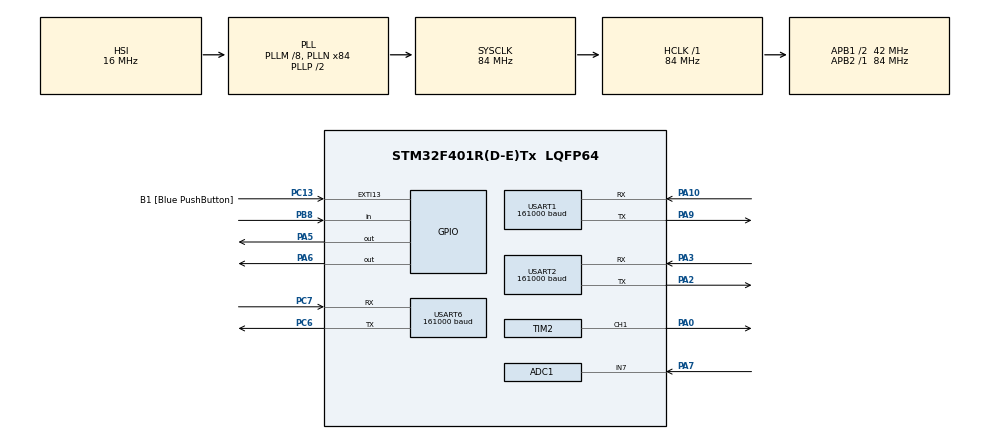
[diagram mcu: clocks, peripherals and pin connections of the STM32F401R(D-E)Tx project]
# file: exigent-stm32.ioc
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ADC1.Channel-0\#ChannelRegularConversion=ADC_CHANNEL_7
ADC1.NbrOfConversionFlag=1
ADC1.Rank-0\#ChannelRegularConversion=1
ADC1.SamplingTime-0\#ChannelRegularConversion=ADC_SAMPLETIME_3CYCLES
ADC1.master=1
Mcu.Family=STM32F4
Mcu.Name=STM32F401R(D-E)Tx
Mcu.Package=LQFP64
NVIC.ADC_IRQn=true\:0\:0\:false\:false\:true\:true\:true
NVIC.PriorityGroup=NVIC_PRIORITYGROUP_0
NVIC.TIM3_IRQn=true\:0\:0\:false\:false\:true\:true\:true
NVIC.USART1_IRQn=true\:0\:0\:false\:false\:true\:true\:true
NVIC.USART2_IRQn=true\:0\:0\:false\:false\:true\:true\:true
PA0-WKUP.Signal=S_TIM2_CH1_ETR
PA10.Mode=Asynchronous
PA10.Signal=USART1_RX
PA13.GPIO_Label=TMS
PA13.Mode=Serial_Wire
PA13.Signal=SYS_JTMS-SWDIO
PA14.GPIO_Label=TCK
PA14.Mode=Serial_Wire
PA14.Signal=SYS_JTCK-SWCLK
PA2.GPIO_Mode=GPIO_MODE_AF_PP
PA2.GPIO_ModeDefaultPP=GPIO_MODE_AF_PP
PA2.GPIO_PuPd=GPIO_NOPULL
PA2.GPIO_Speed=GPIO_SPEED_FREQ_VERY_HIGH
PA2.Mode=Asynchronous
PA2.Signal=USART2_TX
PA3.GPIO_Mode=GPIO_MODE_AF_PP
PA3.GPIO_ModeDefaultPP=GPIO_MODE_AF_PP
PA3.GPIO_PuPd=GPIO_NOPULL
PA3.GPIO_Speed=GPIO_SPEED_FREQ_VERY_HIGH
PA3.Mode=Asynchronous
PA3.Signal=USART2_RX
PA5.Signal=GPIO_Output
PA6.Signal=GPIO_Output
PA7.Signal=ADCx_IN7
PA9.Mode=Asynchronous
PA9.Signal=USART1_TX
PB3.GPIO_Label=SWO
PB3.Signal=SYS_JTDO-SWO
PB8.Signal=GPIO_Input
PC13-ANTI_TAMP.GPIO_Label=B1 [Blue PushButton]
PC13-ANTI_TAMP.GPIO_ModeDefaultEXTI=GPIO_MODE_IT_FALLING
PC13-ANTI_TAMP.GPIO_PuPd=GPIO_NOPULL
PC13-ANTI_TAMP.Signal=GPXTI13
PC14-OSC32_IN.Mode=LSE-External-Oscillator
PC14-OSC32_IN.Signal=RCC_OSC32_IN
PC15-OSC32_OUT.Mode=LSE-External-Oscillator
PC15-OSC32_OUT.Signal=RCC_OSC32_OUT
PC6.Mode=Asynchronous
PC6.Signal=USART6_TX
PC7.Mode=Asynchronous
PC7.Signal=USART6_RX
PH0\ -\ OSC_IN.Mode=HSE-External-Clock-Source
PH0\ -\ OSC_IN.Signal=RCC_OSC_IN
PH1\ -\ OSC_OUT.Mode=HSE-External-Clock-Source
PH1\ -\ OSC_OUT.Signal=RCC_OSC_OUT
ProjectManager.HeapSize=0x200
ProjectManager.StackSize=0x400
ProjectManager.TargetToolchain=STM32CubeIDE
RCC.48MHZClocksFreq_Value=24000000
RCC.AHBFreq_Value=84000000
RCC.APB1CLKDivider=RCC_HCLK_DIV2
RCC.APB1Freq_Value=42000000
RCC.APB1TimFreq_Value=84000000
RCC.APB2Freq_Value=84000000
RCC.APB2TimFreq_Value=84000000
RCC.CortexFreq_Value=84000000
RCC.HCLKFreq_Value=84000000
RCC.HSE_VALUE=8000000
RCC.HSI_VALUE=16000000
RCC.PLLM=8
RCC.PLLN=84
RCC.PLLQ=7
RCC.SYSCLKFreq_VALUE=84000000
RCC.SYSCLKSource=RCC_SYSCLKSOURCE_PLLCLK
RCC.VCOOutputFreq_Value=168000000
SH.ADCx_IN7.0=ADC1_IN7,IN7
SH.S_TIM2_CH1_ETR.0=TIM2_CH1,PWM Generation1 CH1
TIM2.Channel-PWM\ Generation1\ CH1=TIM_CHANNEL_1
TIM2.Period=255
TIM3.Period=63
TIM3.Prescaler=83
USART1.BaudRate=161000
USART1.VirtualMode=VM_ASYNC
USART2.BaudRate=161000
USART2.VirtualMode=VM_ASYNC
USART6.BaudRate=161000
USART6.VirtualMode=VM_ASYNC
VP_TIM2_VS_ClockSourceINT.Mode=Internal
VP_TIM3_VS_ClockSourceINT.Mode=Internal
board=NUCLEO-F401RE

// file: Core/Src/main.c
/* USER CODE BEGIN Header */
/**
  ******************************************************************************
  * @file           : main.c
  * @brief          : Main program body
  ******************************************************************************
  * @attention
  *
  * <h2><center>&copy; Copyright (c) 2021 STMicroelectronics.
  * All rights reserved.</center></h2>
  *
  * This software component is licensed by ST under BSD 3-Clause license,
  * the "License"; You may not use this file except in compliance with the
  * License. You may obtain a copy of the License at:
  *                        opensource.org/licenses/BSD-3-Clause
  *
  ******************************************************************************
  */
/* USER CODE END Header */
#include "main.h"

/* USER CODE BEGIN Includes */
#include <stdio.h>
#include <string.h>
/* USER CODE END Includes */

/* USER CODE BEGIN PD */
#define BUFFER_SIZE 2048
#define BUSY_THRESHOLD 1800
/* USER CODE END PD */

ADC_HandleTypeDef hadc1;

TIM_HandleTypeDef htim2;
TIM_HandleTypeDef htim3;

UART_HandleTypeDef huart1;
UART_HandleTypeDef huart2;
UART_HandleTypeDef huart6;

void SystemClock_Config(void);
static void MX_GPIO_Init(void);
static void MX_USART2_UART_Init(void);
static void MX_TIM2_Init(void);
static void MX_TIM3_Init(void);
static void MX_USART1_UART_Init(void);
static void MX_USART6_UART_Init(void);
static void MX_ADC1_Init(void);

/* USER CODE BEGIN 0 */

uint8_t R='R';
uint8_t c;
uint8_t buffer[BUFFER_SIZE];
uint8_t playEnabledBuffer,playing;
int32_t head=0,tail=0;

UART_HandleTypeDef * audioSource;
int prev=-1;
uint16_t AD_RES;

uint8_t buf[100];

int response=0;

inline int abs(int x) { return x<0 ? -x : x; }

void HAL_ADC_ConvCpltCallback(ADC_HandleTypeDef* hadc)
{
    AD_RES = HAL_ADC_GetValue(&hadc1);
    int diff = 0;
    if(prev != -1) diff = AD_RES - prev;
    prev = AD_RES;
    if(abs(diff) > 500) ++response;
}

void HAL_UART_RxCpltCallback(UART_HandleTypeDef *huart){
	if( playing &&  ( ((tail+1)&0x7ff) != head) ) {
		buffer[tail++] = c;
		tail &= 0x7ff;
	}
	HAL_UART_Receive_IT(audioSource,&c,1);
}

void HAL_TIM_PeriodElapsedCallback(TIM_HandleTypeDef *htim) {
	HAL_ADC_Start_IT(&hadc1);
	if( !playing || head == tail ) return;
	if(htim->Instance == htim3.Instance){
		htim2.Instance->CCR1 = buffer[head++];
		head &= 0x7ff;
	}
}
/* USER CODE END 0 */

int main(void)
{

  /* MCU Configuration--------------------------------------------------------*/

  /* Reset of all peripherals, Initializes the Flash interface and the Systick. */
  HAL_Init();

  /* Configure the system clock */
  SystemClock_Config();

  /* Initialize all configured peripherals */
  MX_GPIO_Init();
  MX_USART2_UART_Init();
  MX_TIM2_Init();
  MX_TIM3_Init();
  MX_USART1_UART_Init();
  MX_USART6_UART_Init();
  MX_ADC1_Init();
  /* USER CODE BEGIN 2 */
  audioSource = &huart1;
  playing = 0;
  HAL_GPIO_WritePin(GPIOA,GPIO_PIN_5,GPIO_PIN_SET);
  HAL_TIM_PWM_Start(&htim2,TIM_CHANNEL_1);
  HAL_TIM_Base_Start_IT(&htim3);
  //HAL_UART_Receive_IT(audioSource,&c,1);
  /* USER CODE END 2 */

  /* Infinite loop */
  while (1)
  {

    /* USER CODE BEGIN 3 */

	  playEnabledBuffer <<= 1;
	  playEnabledBuffer |= HAL_GPIO_ReadPin(GPIOB,GPIO_PIN_8) == GPIO_PIN_SET ? 1 : 0;
	  if(playing == 0 && playEnabledBuffer == 0) {
		  HAL_UART_Receive_IT(audioSource,&c,1);
		  response = 0;
		  playing = 1;
	  } else if(playing == 1 && playEnabledBuffer == 0xff){
		  HAL_UART_AbortReceive_IT(audioSource);
		  if(response > 5) HAL_UART_Transmit(&huart6,&R,1,1000);
		  head = tail = 0;
		  htim2.Instance->CCR1 = 0;
		  playing = 0;
	  }
  }
  /* USER CODE END 3 */
}

void SystemClock_Config(void)
{
  RCC_OscInitTypeDef RCC_OscInitStruct = {0};
  RCC_ClkInitTypeDef RCC_ClkInitStruct = {0};

  /** Configure the main internal regulator output voltage
  */
  __HAL_RCC_PWR_CLK_ENABLE();
  __HAL_PWR_VOLTAGESCALING_CONFIG(PWR_REGULATOR_VOLTAGE_SCALE2);
  /** Initializes the RCC Oscillators according to the specified parameters
  * in the RCC_OscInitTypeDef structure.
  */
  RCC_OscInitStruct.OscillatorType = RCC_OSCILLATORTYPE_HSI;
  RCC_OscInitStruct.HSIState = RCC_HSI_ON;
  RCC_OscInitStruct.HSICalibrationValue = RCC_HSICALIBRATION_DEFAULT;
  RCC_OscInitStruct.PLL.PLLState = RCC_PLL_ON;
  RCC_OscInitStruct.PLL.PLLSource = RCC_PLLSOURCE_HSI;
  RCC_OscInitStruct.PLL.PLLM = 8;
  RCC_OscInitStruct.PLL.PLLN = 84;
  RCC_OscInitStruct.PLL.PLLP = RCC_PLLP_DIV2;
  RCC_OscInitStruct.PLL.PLLQ = 7;
  if (HAL_RCC_OscConfig(&RCC_OscInitStruct) != HAL_OK)
  {
    Error_Handler();
  }
  /** Initializes the CPU, AHB and APB buses clocks
  */
  RCC_ClkInitStruct.ClockType = RCC_CLOCKTYPE_HCLK|RCC_CLOCKTYPE_SYSCLK
                              |RCC_CLOCKTYPE_PCLK1|RCC_CLOCKTYPE_PCLK2;
  RCC_ClkInitStruct.SYSCLKSource = RCC_SYSCLKSOURCE_PLLCLK;
  RCC_ClkInitStruct.AHBCLKDivider = RCC_SYSCLK_DIV1;
  RCC_ClkInitStruct.APB1CLKDivider = RCC_HCLK_DIV2;
  RCC_ClkInitStruct.APB2CLKDivider = RCC_HCLK_DIV1;

  if (HAL_RCC_ClockConfig(&RCC_ClkInitStruct, FLASH_LATENCY_2) != HAL_OK)
  {
    Error_Handler();
  }
}

static void MX_ADC1_Init(void)
{

  ADC_ChannelConfTypeDef sConfig = {0};

  /** Configure the global features of the ADC (Clock, Resolution, Data Alignment and number of conversion)
  */
  hadc1.Instance = ADC1;
  hadc1.Init.ClockPrescaler = ADC_CLOCK_SYNC_PCLK_DIV4;
  hadc1.Init.Resolution = ADC_RESOLUTION_12B;
  hadc1.Init.ScanConvMode = DISABLE;
  hadc1.Init.ContinuousConvMode = DISABLE;
  hadc1.Init.DiscontinuousConvMode = DISABLE;
  hadc1.Init.ExternalTrigConvEdge = ADC_EXTERNALTRIGCONVEDGE_NONE;
  hadc1.Init.ExternalTrigConv = ADC_SOFTWARE_START;
  hadc1.Init.DataAlign = ADC_DATAALIGN_RIGHT;
  hadc1.Init.NbrOfConversion = 1;
  hadc1.Init.DMAContinuousRequests = DISABLE;
  hadc1.Init.EOCSelection = ADC_EOC_SINGLE_CONV;
  if (HAL_ADC_Init(&hadc1) != HAL_OK)
  {
    Error_Handler();
  }
  /** Configure for the selected ADC regular channel its corresponding rank in the sequencer and its sample time.
  */
  sConfig.Channel = ADC_CHANNEL_7;
  sConfig.Rank = 1;
  sConfig.SamplingTime = ADC_SAMPLETIME_3CYCLES;
  if (HAL_ADC_ConfigChannel(&hadc1, &sConfig) != HAL_OK)
  {
    Error_Handler();
  }

}

static void MX_TIM2_Init(void)
{

  TIM_ClockConfigTypeDef sClockSourceConfig = {0};
  TIM_MasterConfigTypeDef sMasterConfig = {0};
  TIM_OC_InitTypeDef sConfigOC = {0};

  htim2.Instance = TIM2;
  htim2.Init.Prescaler = 0;
  htim2.Init.CounterMode = TIM_COUNTERMODE_UP;
  htim2.Init.Period = 255;
  htim2.Init.ClockDivision = TIM_CLOCKDIVISION_DIV1;
  htim2.Init.AutoReloadPreload = TIM_AUTORELOAD_PRELOAD_DISABLE;
  if (HAL_TIM_Base_Init(&htim2) != HAL_OK)
  {
    Error_Handler();
  }
  sClockSourceConfig.ClockSource = TIM_CLOCKSOURCE_INTERNAL;
  if (HAL_TIM_ConfigClockSource(&htim2, &sClockSourceConfig) != HAL_OK)
  {
    Error_Handler();
  }
  if (HAL_TIM_PWM_Init(&htim2) != HAL_OK)
  {
    Error_Handler();
  }
  sMasterConfig.MasterOutputTrigger = TIM_TRGO_RESET;
  sMasterConfig.MasterSlaveMode = TIM_MASTERSLAVEMODE_DISABLE;
  if (HAL_TIMEx_MasterConfigSynchronization(&htim2, &sMasterConfig) != HAL_OK)
  {
    Error_Handler();
  }
  sConfigOC.OCMode = TIM_OCMODE_PWM1;
  sConfigOC.Pulse = 0;
  sConfigOC.OCPolarity = TIM_OCPOLARITY_HIGH;
  sConfigOC.OCFastMode = TIM_OCFAST_DISABLE;
  if (HAL_TIM_PWM_ConfigChannel(&htim2, &sConfigOC, TIM_CHANNEL_1) != HAL_OK)
  {
    Error_Handler();
  }
  HAL_TIM_MspPostInit(&htim2);

}

static void MX_TIM3_Init(void)
{

  TIM_ClockConfigTypeDef sClockSourceConfig = {0};
  TIM_MasterConfigTypeDef sMasterConfig = {0};

  htim3.Instance = TIM3;
  htim3.Init.Prescaler = 83;
  htim3.Init.CounterMode = TIM_COUNTERMODE_UP;
  htim3.Init.Period = 63;
  htim3.Init.ClockDivision = TIM_CLOCKDIVISION_DIV1;
  htim3.Init.AutoReloadPreload = TIM_AUTORELOAD_PRELOAD_DISABLE;
  if (HAL_TIM_Base_Init(&htim3) != HAL_OK)
  {
    Error_Handler();
  }
  sClockSourceConfig.ClockSource = TIM_CLOCKSOURCE_INTERNAL;
  if (HAL_TIM_ConfigClockSource(&htim3, &sClockSourceConfig) != HAL_OK)
  {
    Error_Handler();
  }
  sMasterConfig.MasterOutputTrigger = TIM_TRGO_RESET;
  sMasterConfig.MasterSlaveMode = TIM_MASTERSLAVEMODE_DISABLE;
  if (HAL_TIMEx_MasterConfigSynchronization(&htim3, &sMasterConfig) != HAL_OK)
  {
    Error_Handler();
  }

}

static void MX_USART1_UART_Init(void)
{

  huart1.Instance = USART1;
  huart1.Init.BaudRate = 161000;
  huart1.Init.WordLength = UART_WORDLENGTH_8B;
  huart1.Init.StopBits = UART_STOPBITS_1;
  huart1.Init.Parity = UART_PARITY_NONE;
  huart1.Init.Mode = UART_MODE_TX_RX;
  huart1.Init.HwFlowCtl = UART_HWCONTROL_NONE;
  huart1.Init.OverSampling = UART_OVERSAMPLING_16;
  if (HAL_UART_Init(&huart1) != HAL_OK)
  {
    Error_Handler();
  }

}

static void MX_USART2_UART_Init(void)
{

  huart2.Instance = USART2;
  huart2.Init.BaudRate = 161000;
  huart2.Init.WordLength = UART_WORDLENGTH_8B;
  huart2.Init.StopBits = UART_STOPBITS_1;
  huart2.Init.Parity = UART_PARITY_NONE;
  huart2.Init.Mode = UART_MODE_TX_RX;
  huart2.Init.HwFlowCtl = UART_HWCONTROL_NONE;
  huart2.Init.OverSampling = UART_OVERSAMPLING_16;
  if (HAL_UART_Init(&huart2) != HAL_OK)
  {
    Error_Handler();
  }

}

static void MX_USART6_UART_Init(void)
{

  huart6.Instance = USART6;
  huart6.Init.BaudRate = 161000;
  huart6.Init.WordLength = UART_WORDLENGTH_8B;
  huart6.Init.StopBits = UART_STOPBITS_1;
  huart6.Init.Parity = UART_PARITY_NONE;
  huart6.Init.Mode = UART_MODE_TX_RX;
  huart6.Init.HwFlowCtl = UART_HWCONTROL_NONE;
  huart6.Init.OverSampling = UART_OVERSAMPLING_16;
  if (HAL_UART_Init(&huart6) != HAL_OK)
  {
    Error_Handler();
  }

}

static void MX_GPIO_Init(void)
{
  GPIO_InitTypeDef GPIO_InitStruct = {0};

  /* GPIO Ports Clock Enable */
  __HAL_RCC_GPIOC_CLK_ENABLE();
  __HAL_RCC_GPIOH_CLK_ENABLE();
  __HAL_RCC_GPIOA_CLK_ENABLE();
  __HAL_RCC_GPIOB_CLK_ENABLE();

  /*Configure GPIO pin Output Level */
  HAL_GPIO_WritePin(GPIOA, GPIO_PIN_5|GPIO_PIN_6, GPIO_PIN_RESET);

  /*Configure GPIO pin : B1_Pin */
  GPIO_InitStruct.Pin = B1_Pin;
  GPIO_InitStruct.Mode = GPIO_MODE_IT_FALLING;
  GPIO_InitStruct.Pull = GPIO_NOPULL;
  HAL_GPIO_Init(B1_GPIO_Port, &GPIO_InitStruct);

  /*Configure GPIO pins : PA5 PA6 */
  GPIO_InitStruct.Pin = GPIO_PIN_5|GPIO_PIN_6;
  GPIO_InitStruct.Mode = GPIO_MODE_OUTPUT_PP;
  GPIO_InitStruct.Pull = GPIO_NOPULL;
  GPIO_InitStruct.Speed = GPIO_SPEED_FREQ_LOW;
  HAL_GPIO_Init(GPIOA, &GPIO_InitStruct);

  /*Configure GPIO pin : PB8 */
  GPIO_InitStruct.Pin = GPIO_PIN_8;
  GPIO_InitStruct.Mode = GPIO_MODE_INPUT;
  GPIO_InitStruct.Pull = GPIO_NOPULL;
  HAL_GPIO_Init(GPIOB, &GPIO_InitStruct);

}

void Error_Handler(void)
{
  __disable_irq();
  while (1)
  {
  }
}

/************************ (C) COPYRIGHT STMicroelectronics *****END OF FILE****/
